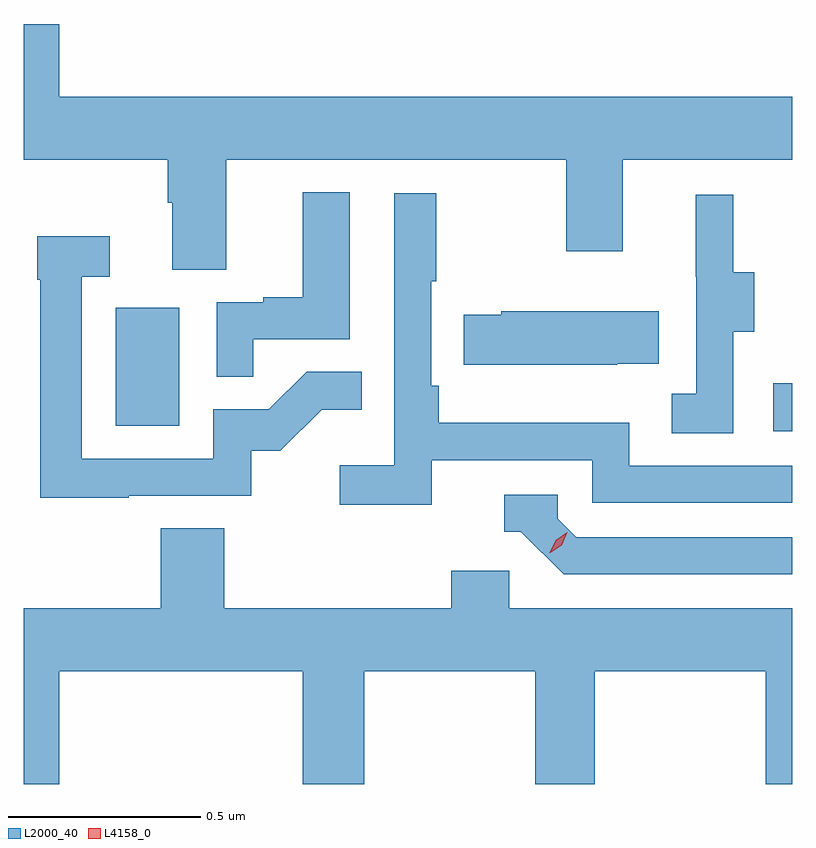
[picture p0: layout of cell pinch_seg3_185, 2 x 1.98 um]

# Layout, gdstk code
import gdstk
lib = gdstk.Library(unit=1e-6, precision=1e-09)
def R(c, l, rs):  # rectangles x0, y0, x1, y1
    for r in rs: c.add(gdstk.rectangle(r[:2], r[2:], *l))
def P(c, l, *ps):  # polygons
    for p in ps: c.add(gdstk.Polygon(p, *l))
L2000_40 = (2000, 40)
L4158_0 = (4158, 0)

pinch_seg3_185 = lib.new_cell('pinch_seg3_185')
R(pinch_seg3_185, L2000_40, [(1018.179,746.829,1018.228,746.954), (1016.468,746.844,1016.632,747.151)])
P(pinch_seg3_185, L2000_40, [(1016.755,747.536),(1017.64,747.536),(1017.64,747.297),(1017.787,747.297),(1017.787,747.536),(1018.228,747.536),(1018.228,747.7),(1016.32,747.7),(1016.32,747.889),(1016.228,747.889),(1016.228,747.536),(1016.603,747.536),(1016.603,747.424),(1016.615,747.424),(1016.615,747.25),(1016.755,747.25)],
  [(1016.825,747.069),(1017.076,747.069),(1017.076,747.451),(1016.954,747.451),(1016.954,747.178),(1016.851,747.178),(1016.851,747.165),(1016.73,747.165),(1016.73,746.971),(1016.825,746.971)],
  [(1017.29,746.754),(1017.708,746.754),(1017.708,746.643),(1018.228,746.643),(1018.228,746.739),(1017.804,746.739),(1017.804,746.851),(1017.308,746.851),(1017.308,746.947),(1017.288,746.947),(1017.288,747.22),(1017.301,747.22),(1017.301,747.448),(1017.192,747.448),(1017.192,746.74),(1017.051,746.74),(1017.051,746.638),(1017.29,746.638)],
  [(1018.074,747.088),(1018.129,747.088),(1018.129,747.243),(1018.075,747.243),(1018.075,747.445),(1017.977,747.445),(1017.977,747.231),(1017.978,747.231),(1017.978,746.927),(1017.915,746.927),(1017.915,746.824),(1018.074,746.824)],
  [(1016.501,746.661),(1016.82,746.661),(1016.82,746.778),(1016.896,746.778),(1017.003,746.885),(1017.107,746.885),(1017.107,746.984),(1016.964,746.984),(1016.866,746.886),(1016.721,746.886),(1016.721,746.757),(1016.379,746.757),(1016.379,747.231),(1016.452,747.231),(1016.452,747.337),(1016.263,747.337),(1016.263,747.224),(1016.271,747.224),(1016.271,746.656),(1016.501,746.656)],
  [(1017.773,747.005),(1017.881,747.005),(1017.881,747.142),(1017.471,747.142),(1017.471,747.132),(1017.373,747.132),(1017.373,747.002),(1017.773,747.002)],
  [(1018.228,746.553),(1017.666,746.553),(1017.618,746.601),(1017.618,746.664),(1017.479,746.664),(1017.479,746.568),(1017.522,746.568),(1017.633,746.457),(1018.228,746.457)],
  [(1016.32,746.204),(1016.954,746.204),(1016.954,745.911),(1017.114,745.911),(1017.114,746.204),(1017.559,746.204),(1017.559,745.911),(1017.714,745.911),(1017.714,746.204),(1018.159,746.204),(1018.159,745.911),(1018.228,745.911),(1018.228,746.368),(1017.492,746.368),(1017.492,746.466),(1017.341,746.466),(1017.341,746.368),(1016.75,746.368),(1016.75,746.576),(1016.585,746.576),(1016.585,746.368),(1016.228,746.368),(1016.228,745.911),(1016.32,745.911)])
P(pinch_seg3_185, L4158_0, [(1017.597,746.513),(1017.597,746.513),(1017.612,746.546),(1017.642,746.566),(1017.643,746.566),(1017.643,746.566),(1017.628,746.533),(1017.598,746.513)])

lib.write_gds('pinch_seg3_185.gds')
